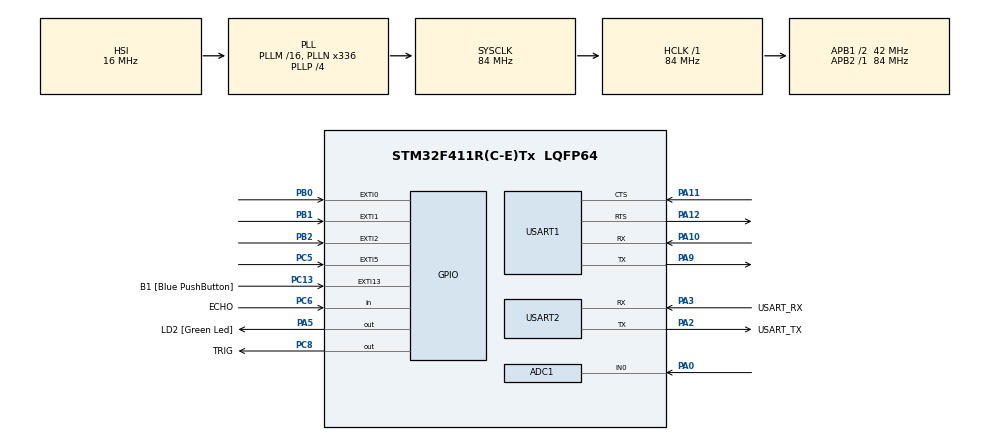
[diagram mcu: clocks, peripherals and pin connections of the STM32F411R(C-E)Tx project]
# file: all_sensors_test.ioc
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ADC1.Channel-0\#ChannelRegularConversion=ADC_CHANNEL_0
ADC1.NbrOfConversionFlag=1
ADC1.Rank-0\#ChannelRegularConversion=1
ADC1.SamplingTime-0\#ChannelRegularConversion=ADC_SAMPLETIME_3CYCLES
ADC1.master=1
Mcu.Family=STM32F4
Mcu.Name=STM32F411R(C-E)Tx
Mcu.Package=LQFP64
NVIC.EXTI0_IRQn=true\:0\:0\:false\:false\:true\:true\:true\:true
NVIC.EXTI1_IRQn=true\:0\:0\:false\:false\:true\:true\:true\:true
NVIC.EXTI2_IRQn=true\:0\:0\:false\:false\:true\:true\:true\:true
NVIC.EXTI9_5_IRQn=true\:0\:0\:false\:false\:true\:true\:true\:true
NVIC.PriorityGroup=NVIC_PRIORITYGROUP_0
NVIC.USART1_IRQn=true\:0\:0\:false\:false\:true\:true\:true\:true
PA0-WKUP.Signal=ADCx_IN0
PA10.Mode=Asynchronous
PA10.Signal=USART1_RX
PA11.Mode=CTS_RTS
PA11.Signal=USART1_CTS
PA12.Mode=CTS_RTS
PA12.Signal=USART1_RTS
PA13.GPIO_Label=TMS
PA13.Mode=Serial_Wire
PA13.Signal=SYS_JTMS-SWDIO
PA14.GPIO_Label=TCK
PA14.Mode=Serial_Wire
PA14.Signal=SYS_JTCK-SWCLK
PA2.GPIO_Label=USART_TX
PA2.Mode=Asynchronous
PA2.Signal=USART2_TX
PA3.GPIO_Label=USART_RX
PA3.Mode=Asynchronous
PA3.Signal=USART2_RX
PA5.GPIO_Label=LD2 [Green Led]
PA5.Signal=GPIO_Output
PA9.Mode=Asynchronous
PA9.Signal=USART1_TX
PB0.Signal=GPXTI0
PB1.Signal=GPXTI1
PB2.Signal=GPXTI2
PB3.GPIO_Label=SWO
PB3.Signal=SYS_JTDO-SWO
PC13-ANTI_TAMP.GPIO_Label=B1 [Blue PushButton]
PC13-ANTI_TAMP.GPIO_ModeDefaultEXTI=GPIO_MODE_IT_FALLING
PC13-ANTI_TAMP.Signal=GPXTI13
PC14-OSC32_IN.Mode=LSE-External-Oscillator
PC14-OSC32_IN.Signal=RCC_OSC32_IN
PC15-OSC32_OUT.Mode=LSE-External-Oscillator
PC15-OSC32_OUT.Signal=RCC_OSC32_OUT
PC5.Signal=GPXTI5
PC6.GPIO_Label=ECHO
PC6.Signal=GPIO_Input
PC8.GPIO_Label=TRIG
PC8.Signal=GPIO_Output
PH0\ -\ OSC_IN.Mode=HSE-External-Clock-Source
PH0\ -\ OSC_IN.Signal=RCC_OSC_IN
PH1\ -\ OSC_OUT.Mode=HSE-External-Clock-Source
PH1\ -\ OSC_OUT.Signal=RCC_OSC_OUT
ProjectManager.HeapSize=0x200
ProjectManager.StackSize=0x400
ProjectManager.TargetToolchain=STM32CubeIDE
RCC.48MHZClocksFreq_Value=84000000
RCC.AHBFreq_Value=84000000
RCC.APB1CLKDivider=RCC_HCLK_DIV2
RCC.APB1Freq_Value=42000000
RCC.APB1TimFreq_Value=84000000
RCC.APB2Freq_Value=84000000
RCC.APB2TimFreq_Value=84000000
RCC.CortexFreq_Value=84000000
RCC.FLatency-AdvancedSettings=FLASH_LATENCY_2
RCC.HCLKFreq_Value=84000000
RCC.HSE_VALUE=8000000
RCC.HSI_VALUE=16000000
RCC.PLLN=336
RCC.PLLP=RCC_PLLP_DIV4
RCC.SYSCLKFreq_VALUE=84000000
RCC.SYSCLKSource=RCC_SYSCLKSOURCE_PLLCLK
RCC.VCOOutputFreq_Value=336000000
SH.ADCx_IN0.0=ADC1_IN0,IN0
TIM4.Period=0
TIM4.Prescaler=83
USART1.VirtualMode=VM_ASYNC
USART2.VirtualMode=VM_ASYNC
VP_TIM4_VS_ClockSourceINT.Mode=Internal
board=NUCLEO-F411RE

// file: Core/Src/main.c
/* USER CODE BEGIN Header */
/**
  ******************************************************************************
  * @file           : main.c
  * @brief          : Main program body
  ******************************************************************************
  * @attention
  *
  * Copyright (c) 2023 STMicroelectronics.
  * All rights reserved.
  *
  * This software is licensed under terms that can be found in the LICENSE file
  * in the root directory of this software component.
  * If no LICENSE file comes with this software, it is provided AS-IS.
  *
  ******************************************************************************
  */
/* USER CODE END Header */
#include "main.h"

/* USER CODE BEGIN Includes */
#include <string.h>
#include <stdio.h>
#include <math.h>
/* USER CODE END Includes */

/* USER CODE BEGIN PTD */
#define usTIM	TIM4
#define PI 3.14159265

//water flow
float FlowPx;
float FlowMx;
float FlowPy;
float FlowMy;
float Flow;
float Angle;

char bufferflow[50];

/* USER CODE END PTD */

ADC_HandleTypeDef hadc1;

TIM_HandleTypeDef htim4;

UART_HandleTypeDef huart1;
UART_HandleTypeDef huart2;

void SystemClock_Config(void);
static void MX_GPIO_Init(void);
static void MX_USART2_UART_Init(void);
static void MX_ADC1_Init(void);
static void MX_TIM4_Init(void);
static void MX_USART1_UART_Init(void);
/* USER CODE BEGIN PFP */
void usDelay(uint32_t uSec);
/* USER CODE END PFP */

/* USER CODE BEGIN 0 */

//const for ultrasonic
const float speedOfSound = 0.0343/2;
float distance;
char all_buffer[24];

//const for water level

float value = 0; // variable to store the sensor value
float level = 0; // variable to store the water level

char* floatToString(float input) {
  int integerPart = (int)input % 1000;
  int decimalPart = (int)((input - integerPart) * 100) % 100;

  char* output = (char*)malloc(7 * sizeof(char)); // Allocate memory for the string

  sprintf(output, "%03d.%02d", integerPart, decimalPart);

  return output;
}

char* floatToString3digit(float input) {
  int integerPart = (int)input % 1000;
  //int decimalPart = (int)((input - integerPart) * 100) % 100;

  char* output = (char*)malloc(3 * sizeof(char)); // Allocate memory for the string

  sprintf(output, "%03d", integerPart);

  return output;
}

/* USER CODE END 0 */

int main(void)
{
  /* USER CODE BEGIN 1 */
	uint32_t numTicks = 0;
  /* USER CODE END 1 */

  /* MCU Configuration--------------------------------------------------------*/

  /* Reset of all peripherals, Initializes the Flash interface and the Systick. */
  HAL_Init();

  /* Configure the system clock */
  SystemClock_Config();

  /* Initialize all configured peripherals */
  MX_GPIO_Init();
  MX_USART2_UART_Init();
  MX_ADC1_Init();
  MX_TIM4_Init();
  MX_USART1_UART_Init();

  /* Infinite loop */
  /* USER CODE BEGIN WHILE */
  while (1)
  {
	  //-------------------- ultrasonic ---------------------------
	  //Set TRIG to LOW for few uSec
	  		HAL_GPIO_WritePin(TRIG_GPIO_Port, TRIG_Pin, GPIO_PIN_RESET);
	  		usDelay(3);

	  		//*** START Ultrasonic measure routine ***//
	  		//1. Output 10 usec TRIG
	  		HAL_GPIO_WritePin(TRIG_GPIO_Port, TRIG_Pin, GPIO_PIN_SET);
	  		usDelay(10);
	  		HAL_GPIO_WritePin(TRIG_GPIO_Port, TRIG_Pin, GPIO_PIN_RESET);

	  		//2. Wait for ECHO pin rising edge
	  		while(HAL_GPIO_ReadPin(ECHO_GPIO_Port, ECHO_Pin) == GPIO_PIN_RESET);

	  		//3. Start measuring ECHO pulse width in usec
	  		numTicks = 0;
	  		while(HAL_GPIO_ReadPin(ECHO_GPIO_Port, ECHO_Pin) == GPIO_PIN_SET)
	  		{
	  			numTicks++;
	  			usDelay(2); //2.8usec
	  		};

	  		//4. Estimate distance in cm
//	  		char uartBuf[50];
	  		distance = (numTicks + 0.0f)*2.8*speedOfSound;

	  		//5. Print to UART terminal for debugging
	  		char* output_height = floatToString(distance);
//	  		sprintf(uartBuf, "Distance (cm)  = %s\r\n", output_height);
//	  		HAL_UART_Transmit(&huart2, (uint8_t *)uartBuf, strlen(uartBuf), HAL_MAX_DELAY);

	  //-------------------- water level sensor -------------------------
	      HAL_Delay(10);                                           // wait 10 milliseconds
	      HAL_ADC_Start(&hadc1);
	      if (HAL_ADC_PollForConversion(&hadc1, 10) == HAL_OK) {
	        value = HAL_ADC_GetValue(&hadc1);                       // read the analog value from sensor
	        HAL_ADC_Stop(&hadc1);
	      }

	      level = (value * 4) / 3800; // 4 levels
//	      char buffer[50];
	      char* output_level = floatToString(level);

//	      sprintf(buffer, "Water level: %s\r\n", output_level);
//	      HAL_UART_Transmit(&huart2, (uint8_t*)buffer, strlen(buffer), HAL_MAX_DELAY);

//	//-------------------------- water flow --------------------------

	      FlowPx -= FlowMx;
	      FlowPy -= FlowMy;
	      Flow = sqrt(FlowPx*FlowPx+FlowPy*FlowPy);
	      Angle = atan(fabs(FlowPy)/fabs(FlowPx))* 180 / PI;
	      if (FlowPx<0 && FlowPy<0) Angle += 180;
	      else if (FlowPx<0) Angle = 180-Angle;
	      else if (FlowPy<0) Angle = 360-Angle;
	      char* output_flow = floatToString(Flow);
	      char* output_ang = floatToString(Angle);

//	      sprintf(bufferflow,"Flow: %s\r\n", output_flow);
//	      HAL_UART_Transmit(&huart2, (uint8_t*)bufferflow, strlen(bufferflow), HAL_MAX_DELAY);

	 //----------transmit
	      sprintf(all_buffer,"%s%s%s%s",output_height,output_level,output_flow,output_ang);
	      free(output_height);
	      free(output_level);
	      free(output_flow);
	      free(output_ang);

	      //print out in console
	      HAL_UART_Transmit(&huart2, (uint8_t*)all_buffer, strlen(all_buffer), HAL_MAX_DELAY);

	      //transmit to nodemcu
		  HAL_UART_Transmit(&huart1, (uint8_t*)all_buffer, strlen(all_buffer), HAL_MAX_DELAY);

	      HAL_Delay(2000);
    /* USER CODE END WHILE */

  }
}

void SystemClock_Config(void)
{
  RCC_OscInitTypeDef RCC_OscInitStruct = {0};
  RCC_ClkInitTypeDef RCC_ClkInitStruct = {0};

  /** Configure the main internal regulator output voltage
  */
  __HAL_RCC_PWR_CLK_ENABLE();
  __HAL_PWR_VOLTAGESCALING_CONFIG(PWR_REGULATOR_VOLTAGE_SCALE1);

  /** Initializes the RCC Oscillators according to the specified parameters
  * in the RCC_OscInitTypeDef structure.
  */
  RCC_OscInitStruct.OscillatorType = RCC_OSCILLATORTYPE_HSI;
  RCC_OscInitStruct.HSIState = RCC_HSI_ON;
  RCC_OscInitStruct.HSICalibrationValue = RCC_HSICALIBRATION_DEFAULT;
  RCC_OscInitStruct.PLL.PLLState = RCC_PLL_ON;
  RCC_OscInitStruct.PLL.PLLSource = RCC_PLLSOURCE_HSI;
  RCC_OscInitStruct.PLL.PLLM = 16;
  RCC_OscInitStruct.PLL.PLLN = 336;
  RCC_OscInitStruct.PLL.PLLP = RCC_PLLP_DIV4;
  RCC_OscInitStruct.PLL.PLLQ = 4;
  if (HAL_RCC_OscConfig(&RCC_OscInitStruct) != HAL_OK)
  {
    Error_Handler();
  }

  /** Initializes the CPU, AHB and APB buses clocks
  */
  RCC_ClkInitStruct.ClockType = RCC_CLOCKTYPE_HCLK|RCC_CLOCKTYPE_SYSCLK
                              |RCC_CLOCKTYPE_PCLK1|RCC_CLOCKTYPE_PCLK2;
  RCC_ClkInitStruct.SYSCLKSource = RCC_SYSCLKSOURCE_PLLCLK;
  RCC_ClkInitStruct.AHBCLKDivider = RCC_SYSCLK_DIV1;
  RCC_ClkInitStruct.APB1CLKDivider = RCC_HCLK_DIV2;
  RCC_ClkInitStruct.APB2CLKDivider = RCC_HCLK_DIV1;

  if (HAL_RCC_ClockConfig(&RCC_ClkInitStruct, FLASH_LATENCY_2) != HAL_OK)
  {
    Error_Handler();
  }
}

static void MX_ADC1_Init(void)
{

  ADC_ChannelConfTypeDef sConfig = {0};

  /** Configure the global features of the ADC (Clock, Resolution, Data Alignment and number of conversion)
  */
  hadc1.Instance = ADC1;
  hadc1.Init.ClockPrescaler = ADC_CLOCK_SYNC_PCLK_DIV4;
  hadc1.Init.Resolution = ADC_RESOLUTION_12B;
  hadc1.Init.ScanConvMode = DISABLE;
  hadc1.Init.ContinuousConvMode = DISABLE;
  hadc1.Init.DiscontinuousConvMode = DISABLE;
  hadc1.Init.ExternalTrigConvEdge = ADC_EXTERNALTRIGCONVEDGE_NONE;
  hadc1.Init.ExternalTrigConv = ADC_SOFTWARE_START;
  hadc1.Init.DataAlign = ADC_DATAALIGN_RIGHT;
  hadc1.Init.NbrOfConversion = 1;
  hadc1.Init.DMAContinuousRequests = DISABLE;
  hadc1.Init.EOCSelection = ADC_EOC_SINGLE_CONV;
  if (HAL_ADC_Init(&hadc1) != HAL_OK)
  {
    Error_Handler();
  }

  /** Configure for the selected ADC regular channel its corresponding rank in the sequencer and its sample time.
  */
  sConfig.Channel = ADC_CHANNEL_0;
  sConfig.Rank = 1;
  sConfig.SamplingTime = ADC_SAMPLETIME_3CYCLES;
  if (HAL_ADC_ConfigChannel(&hadc1, &sConfig) != HAL_OK)
  {
    Error_Handler();
  }

}

static void MX_TIM4_Init(void)
{

  TIM_ClockConfigTypeDef sClockSourceConfig = {0};
  TIM_MasterConfigTypeDef sMasterConfig = {0};

  htim4.Instance = TIM4;
  htim4.Init.Prescaler = 83;
  htim4.Init.CounterMode = TIM_COUNTERMODE_UP;
  htim4.Init.Period = 0;
  htim4.Init.ClockDivision = TIM_CLOCKDIVISION_DIV1;
  htim4.Init.AutoReloadPreload = TIM_AUTORELOAD_PRELOAD_DISABLE;
  if (HAL_TIM_Base_Init(&htim4) != HAL_OK)
  {
    Error_Handler();
  }
  sClockSourceConfig.ClockSource = TIM_CLOCKSOURCE_INTERNAL;
  if (HAL_TIM_ConfigClockSource(&htim4, &sClockSourceConfig) != HAL_OK)
  {
    Error_Handler();
  }
  sMasterConfig.MasterOutputTrigger = TIM_TRGO_RESET;
  sMasterConfig.MasterSlaveMode = TIM_MASTERSLAVEMODE_DISABLE;
  if (HAL_TIMEx_MasterConfigSynchronization(&htim4, &sMasterConfig) != HAL_OK)
  {
    Error_Handler();
  }

}

static void MX_USART1_UART_Init(void)
{

  huart1.Instance = USART1;
  huart1.Init.BaudRate = 115200;
  huart1.Init.WordLength = UART_WORDLENGTH_8B;
  huart1.Init.StopBits = UART_STOPBITS_1;
  huart1.Init.Parity = UART_PARITY_NONE;
  huart1.Init.Mode = UART_MODE_TX_RX;
  huart1.Init.HwFlowCtl = UART_HWCONTROL_RTS_CTS;
  huart1.Init.OverSampling = UART_OVERSAMPLING_16;
  if (HAL_UART_Init(&huart1) != HAL_OK)
  {
    Error_Handler();
  }

}

static void MX_USART2_UART_Init(void)
{

  huart2.Instance = USART2;
  huart2.Init.BaudRate = 115200;
  huart2.Init.WordLength = UART_WORDLENGTH_8B;
  huart2.Init.StopBits = UART_STOPBITS_1;
  huart2.Init.Parity = UART_PARITY_NONE;
  huart2.Init.Mode = UART_MODE_TX_RX;
  huart2.Init.HwFlowCtl = UART_HWCONTROL_NONE;
  huart2.Init.OverSampling = UART_OVERSAMPLING_16;
  if (HAL_UART_Init(&huart2) != HAL_OK)
  {
    Error_Handler();
  }

}

static void MX_GPIO_Init(void)
{
  GPIO_InitTypeDef GPIO_InitStruct = {0};

  /* GPIO Ports Clock Enable */
  __HAL_RCC_GPIOC_CLK_ENABLE();
  __HAL_RCC_GPIOH_CLK_ENABLE();
  __HAL_RCC_GPIOA_CLK_ENABLE();
  __HAL_RCC_GPIOB_CLK_ENABLE();

  /*Configure GPIO pin Output Level */
  HAL_GPIO_WritePin(LD2_GPIO_Port, LD2_Pin, GPIO_PIN_RESET);

  /*Configure GPIO pin Output Level */
  HAL_GPIO_WritePin(TRIG_GPIO_Port, TRIG_Pin, GPIO_PIN_RESET);

  /*Configure GPIO pin : B1_Pin */
  GPIO_InitStruct.Pin = B1_Pin;
  GPIO_InitStruct.Mode = GPIO_MODE_IT_FALLING;
  GPIO_InitStruct.Pull = GPIO_NOPULL;
  HAL_GPIO_Init(B1_GPIO_Port, &GPIO_InitStruct);

  /*Configure GPIO pin : LD2_Pin */
  GPIO_InitStruct.Pin = LD2_Pin;
  GPIO_InitStruct.Mode = GPIO_MODE_OUTPUT_PP;
  GPIO_InitStruct.Pull = GPIO_NOPULL;
  GPIO_InitStruct.Speed = GPIO_SPEED_FREQ_LOW;
  HAL_GPIO_Init(LD2_GPIO_Port, &GPIO_InitStruct);

  /*Configure GPIO pin : PC5 */
  GPIO_InitStruct.Pin = GPIO_PIN_5;
  GPIO_InitStruct.Mode = GPIO_MODE_IT_RISING;
  GPIO_InitStruct.Pull = GPIO_NOPULL;
  HAL_GPIO_Init(GPIOC, &GPIO_InitStruct);

  /*Configure GPIO pins : PB0 PB1 PB2 */
  GPIO_InitStruct.Pin = GPIO_PIN_0|GPIO_PIN_1|GPIO_PIN_2;
  GPIO_InitStruct.Mode = GPIO_MODE_IT_RISING;
  GPIO_InitStruct.Pull = GPIO_NOPULL;
  HAL_GPIO_Init(GPIOB, &GPIO_InitStruct);

  /*Configure GPIO pin : ECHO_Pin */
  GPIO_InitStruct.Pin = ECHO_Pin;
  GPIO_InitStruct.Mode = GPIO_MODE_INPUT;
  GPIO_InitStruct.Pull = GPIO_NOPULL;
  HAL_GPIO_Init(ECHO_GPIO_Port, &GPIO_InitStruct);

  /*Configure GPIO pin : TRIG_Pin */
  GPIO_InitStruct.Pin = TRIG_Pin;
  GPIO_InitStruct.Mode = GPIO_MODE_OUTPUT_PP;
  GPIO_InitStruct.Pull = GPIO_NOPULL;
  GPIO_InitStruct.Speed = GPIO_SPEED_FREQ_LOW;
  HAL_GPIO_Init(TRIG_GPIO_Port, &GPIO_InitStruct);

  /* EXTI interrupt init*/
  HAL_NVIC_SetPriority(EXTI0_IRQn, 0, 0);
  HAL_NVIC_EnableIRQ(EXTI0_IRQn);

  HAL_NVIC_SetPriority(EXTI1_IRQn, 0, 0);
  HAL_NVIC_EnableIRQ(EXTI1_IRQn);

  HAL_NVIC_SetPriority(EXTI2_IRQn, 0, 0);
  HAL_NVIC_EnableIRQ(EXTI2_IRQn);

  HAL_NVIC_SetPriority(EXTI9_5_IRQn, 0, 0);
  HAL_NVIC_EnableIRQ(EXTI9_5_IRQn);

}

/* USER CODE BEGIN 4 */
void usDelay(uint32_t uSec)
{
	if(uSec < 2) uSec = 2;
	usTIM->ARR = uSec - 1; 	/*sets the value in the auto-reload register*/
	usTIM->EGR = 1; 			/*Re-initialises the timer*/
	usTIM->SR &= ~1; 		//Resets the flag
	usTIM->CR1 |= 1; 		//Enables the counter
	while((usTIM->SR&0x0001) != 1);
	usTIM->SR &= ~(0x0001);
}

/* USER CODE END 4 */

void Error_Handler(void)
{
  __disable_irq();
  while (1)
  {
  }
}
